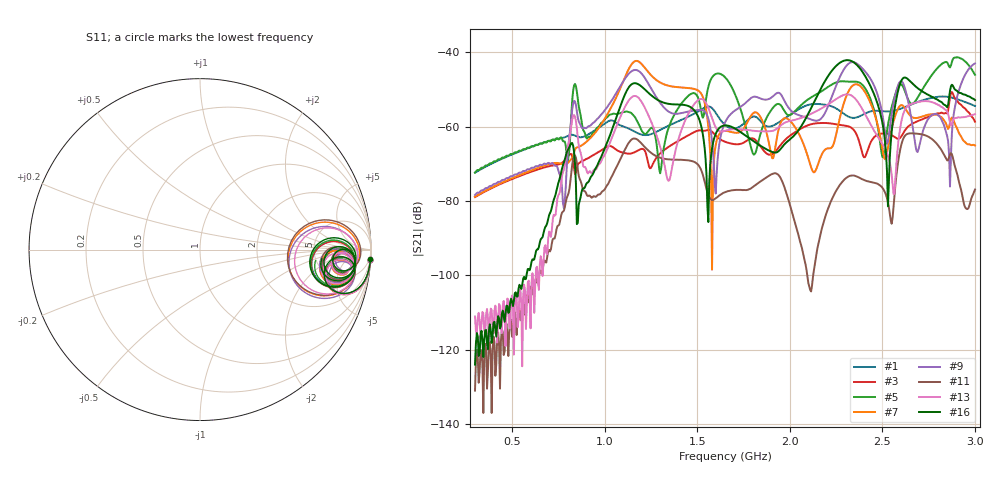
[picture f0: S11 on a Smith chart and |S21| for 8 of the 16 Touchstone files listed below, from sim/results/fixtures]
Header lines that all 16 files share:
! simulated by sim/fixtures_fdtd.py (S12 = S21, S22 not computed)
# HZ S RI R 50
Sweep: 300 MHz to 3 GHz
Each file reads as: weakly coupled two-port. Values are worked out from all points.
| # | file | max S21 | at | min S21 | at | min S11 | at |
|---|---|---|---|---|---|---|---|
| 1 | xloopR10_hv_empty.s2p | -51.91 dB | 2.825 GHz | -72.4 dB | 300 MHz | -3.6 dB | 1.185 GHz |
| 2 | xloopR10_hv_flat0_+00+00_genuine.s2p | -57.89 dB | 2.815 GHz | -79.0 dB | 300 MHz | -3.6 dB | 1.185 GHz |
| 3 | xloopR10_hv_flat0_+00+00_tampered.s2p | -50.72 dB | 2.875 GHz | -79.0 dB | 300 MHz | -3.7 dB | 1.185 GHz |
| 4 | xloopR10_hv_flat0_+00+28_genuine.s2p | -45.18 dB | 2.86 GHz | -72.4 dB | 300 MHz | -3.7 dB | 1.185 GHz |
| 5 | xloopR10_hv_flat0_+00+28_tampered.s2p | -41.37 dB | 2.905 GHz | -72.6 dB | 1.3 GHz | -3.7 dB | 1.185 GHz |
| 6 | xloopR10_hv_flat90_+00+00_genuine.s2p | -55.96 dB | 2.805 GHz | -95.3 dB | 1.905 GHz | -4.2 dB | 1.18 GHz |
| 7 | xloopR10_hv_flat90_+00+00_tampered.s2p | -42.35 dB | 1.17 GHz | -98.5 dB | 1.58 GHz | -5.7 dB | 1.16 GHz |
| 8 | xloopR10_hv_flat90_+28+00_genuine.s2p | -51.48 dB | 2.365 GHz | -79.5 dB | 300 MHz | -4.1 dB | 1.185 GHz |
| 9 | xloopR10_hv_flat90_+28+00_tampered.s2p | -42.67 dB | 2.34 GHz | -81.9 dB | 780 MHz | -5.6 dB | 1.185 GHz |
| 10 | xloopR10_xv_empty.s2p | -78.68 dB | 2.115 GHz | -119.2 dB | 300 MHz | -3.7 dB | 1.185 GHz |
| 11 | xloopR10_xv_flat0_+00+00_tampered.s2p | -61.81 dB | 2.655 GHz | -137.0 dB | 345 MHz | -5.8 dB | 1.15 GHz |
| 12 | xloopR10_xv_flat0_+00+28_genuine.s2p | -51.26 dB | 1.17 GHz | -107.3 dB | 300 MHz | -4.1 dB | 1.18 GHz |
| 13 | xloopR10_xv_flat0_+00+28_tampered.s2p | -51.34 dB | 2.31 GHz | -124.4 dB | 555 MHz | -5.1 dB | 1.165 GHz |
| 14 | xloopR10_xv_flat90_+00+00_tampered.s2p | -59.33 dB | 2.875 GHz | -137.0 dB | 310 MHz | -3.8 dB | 1.165 GHz |
| 15 | xloopR10_xv_flat90_+28+00_genuine.s2p | -49.25 dB | 1.16 GHz | -107.9 dB | 300 MHz | -3.8 dB | 1.165 GHz |
| 16 | xloopR10_xv_flat90_+28+00_tampered.s2p | -42.14 dB | 2.31 GHz | -124.0 dB | 300 MHz | -3.8 dB | 1.165 GHz |
